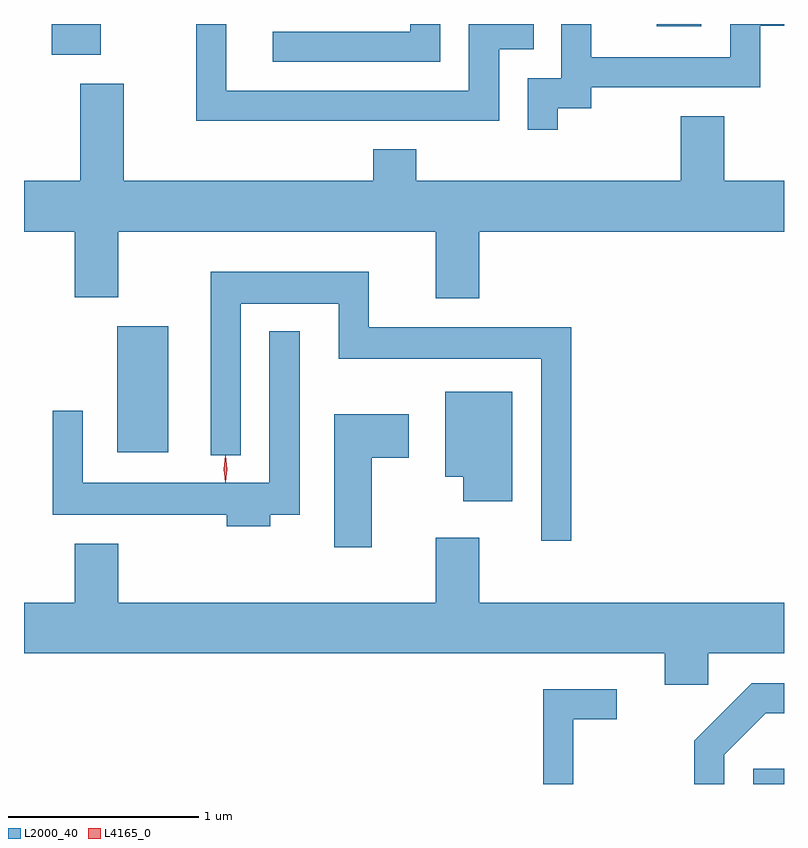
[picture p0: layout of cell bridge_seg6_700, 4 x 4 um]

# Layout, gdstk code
import gdstk
lib = gdstk.Library(unit=1e-6, precision=1e-09)
def R(c, l, rs):  # rectangles x0, y0, x1, y1
    for r in rs: c.add(gdstk.rectangle(r[:2], r[2:], *l))
def P(c, l, *ps):  # polygons
    for p in ps: c.add(gdstk.Polygon(p, *l))
L2000_40 = (2000, 40)
L4165_0 = (4165, 0)

bridge_seg6_700 = lib.new_cell('bridge_seg6_700')
R(bridge_seg6_700, L2000_40, [(488.341,1533.809,488.504,1533.889), (484.996,1535.556,485.264,1536.219), (484.651,1537.646,484.909,1537.809), (487.833,1537.796,488.069,1537.809)])
P(bridge_seg6_700, L2000_40, [(487.314,1537.366),(487.489,1537.366),(487.489,1537.476),(488.379,1537.476),(488.379,1537.801),(488.504,1537.801),(488.504,1537.809),(488.221,1537.809),(488.221,1537.634),(487.489,1537.634),(487.489,1537.809),(487.331,1537.809),(487.331,1537.524),(487.156,1537.524),(487.156,1537.253),(487.314,1537.253)],
  [(486.694,1537.809),(486.536,1537.809),(486.536,1537.769),(485.813,1537.769),(485.813,1537.611),(486.694,1537.611)],
  [(487.004,1537.676),(487.188,1537.676),(487.188,1537.809),(486.846,1537.809),(486.846,1537.459),(485.569,1537.459),(485.569,1537.809),(485.411,1537.809),(485.411,1537.301),(487.004,1537.301)],
  [(486.899,1536.716),(488.504,1536.716),(488.504,1536.984),(488.189,1536.984),(488.189,1537.324),(487.961,1537.324),(487.961,1536.984),(486.569,1536.984),(486.569,1537.149),(486.341,1537.149),(486.341,1536.984),(485.029,1536.984),(485.029,1537.494),(484.801,1537.494),(484.801,1536.984),(484.504,1536.984),(484.504,1536.716),(484.771,1536.716),(484.771,1536.371),(484.999,1536.371),(484.999,1536.716),(486.671,1536.716),(486.671,1536.366),(486.899,1536.366)],
  [(487.384,1536.214),(486.319,1536.214),(486.319,1536.504),(485.486,1536.504),(485.486,1535.538),(485.644,1535.538),(485.644,1536.336),(486.161,1536.336),(486.161,1536.046),(487.226,1536.046),(487.226,1535.088),(487.384,1535.088)],
  [(485.799,1535.226),(485.954,1535.226),(485.954,1536.193),(485.796,1536.193),(485.796,1535.394),(484.814,1535.394),(484.814,1535.773),(484.656,1535.773),(484.656,1535.226),(485.571,1535.226),(485.571,1535.166),(485.799,1535.166)],
  [(487.074,1535.874),(486.721,1535.874),(486.721,1535.426),(486.816,1535.426),(486.816,1535.296),(487.074,1535.296)],
  [(486.334,1535.526),(486.529,1535.526),(486.529,1535.754),(486.136,1535.754),(486.136,1535.056),(486.334,1535.056)],
  [(488.104,1534.496),(488.504,1534.496),(488.504,1534.764),(486.899,1534.764),(486.899,1535.104),(486.671,1535.104),(486.671,1534.764),(484.999,1534.764),(484.999,1535.074),(484.771,1535.074),(484.771,1534.764),(484.504,1534.764),(484.504,1534.496),(487.876,1534.496),(487.876,1534.331),(488.104,1534.331)],
  [(488.189,1533.964),(488.407,1534.181),(488.504,1534.181),(488.504,1534.339),(488.334,1534.339),(488.031,1534.037),(488.031,1533.809),(488.189,1533.809)],
  [(487.394,1534.151),(487.623,1534.151),(487.623,1534.309),(487.236,1534.309),(487.236,1533.809),(487.394,1533.809)])
P(bridge_seg6_700, L4165_0, [(485.564,1535.397),(485.555,1535.466),(485.564,1535.536),(485.565,1535.536),(485.565,1535.536),(485.575,1535.466),(485.565,1535.397),(485.565,1535.397)],
  [(485.565,1535.399),(485.564,1535.4),(485.555,1535.466),(485.564,1535.532),(485.565,1535.533),(485.565,1535.532),(485.575,1535.466),(485.565,1535.4)])

lib.write_gds('bridge_seg6_700.gds')
